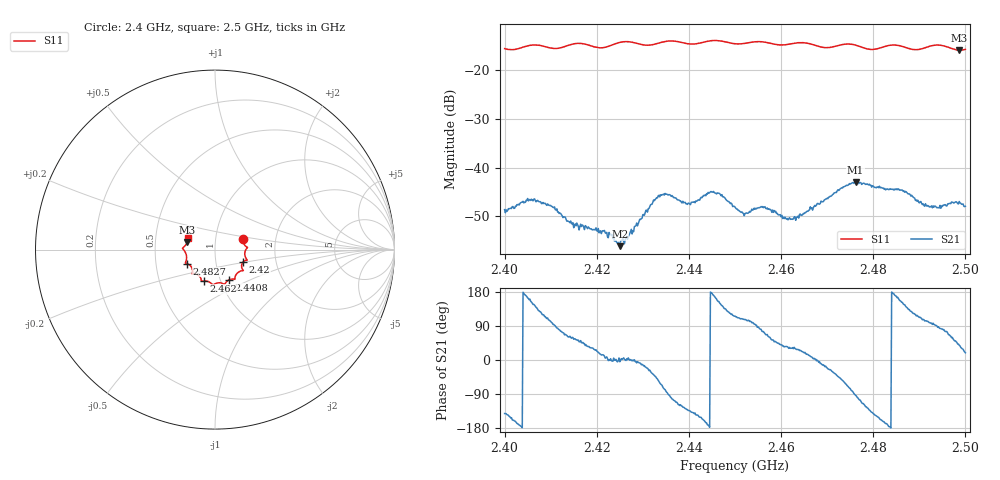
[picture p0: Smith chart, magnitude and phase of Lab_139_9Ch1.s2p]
# Hz S RI R 50
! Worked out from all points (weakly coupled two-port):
!   601 points, 2.4 GHz to 2.5 GHz, reference 50 ohm
!   highest |S21| = -42.92 dB at 2.4762 GHz (marker M1); lowest = -56.1 dB at 2.425 GHz (marker M2)
!   lowest |S11| = -15.9 dB at 2.4987 GHz (marker M3), VSWR 1.38, Z = 36.5 + j3.22 ohm
!   |S11| at or under -10 dB: start of sweep to end of sweep
!   S12 and S22 are empty: the file has one direction only
!   S11 on the Smith chart (normalised r, x): 2.4 GHz: 1.35, +0.17; 2.42 GHz: 1.36, -0.19; 2.4408 GHz: 1.10, -0.38; 2.462 GHz: 0.83, -0.30; 2.4827 GHz: 0.72, -0.12; 2.5 GHz: 0.73, +0.09
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2.4e9  0.1548 0.0614  -0.00289 -0.00232  0 0  0 0
2.406833e9  0.1813 0.0121  -0.00336 0.00292  0 0  0 0
2.411167e9  0.1658 -0.0202  0.000181 0.00368  0 0  0 0
2.416667e9  0.1787 -0.0587  0.00174 0.00178  0 0  0 0
2.42e9  0.1568 -0.069  0.00208 0.000906  0 0  0 0
2.425e9  0.1557 -0.1141  0.00156 -0.000124  0 0  0 0
2.4265e9  0.1579 -0.1172  0.00196 0.000113  0 0  0 0
2.433333e9  0.1116 -0.1527  0.00305 -0.00413  0 0  0 0
2.440833e9  0.0778 -0.1685  -0.00331 -0.00293  0 0  0 0
2.445167e9  0.0535 -0.1945  -0.00557 0.00072  0 0  0 0
2.45e9  0.0269 -0.1849  -0.00171 0.00355  0 0  0 0
2.452333e9  0.00317 -0.1893  -0.000958 0.00327  0 0  0 0
2.456167e9  -0.014 -0.1944  0.000995 0.00375  0 0  0 0
2.462e9  -0.0624 -0.1751  0.00253 0.00151  0 0  0 0
2.466667e9  -0.0762 -0.1682  0.00383 0.000529  0 0  0 0
2.476167e9  -0.1254 -0.1306  -0.000398 -0.00713  0 0  0 0
2.482667e9  -0.1581 -0.0778  -0.00578 -0.00127  0 0  0 0
2.483333e9  -0.1621 -0.0768  -0.00591 -0.000511  0 0  0 0
2.486667e9  -0.1612 -0.0638  -0.00481 0.0032  0 0  0 0
2.492e9  -0.1746 -0.000966  -0.000717 0.00398  0 0  0 0
2.498667e9  -0.1544 0.043  0.00349 0.00282  0 0  0 0
2.5e9  -0.1512 0.063  0.00379 0.00131  0 0  0 0
